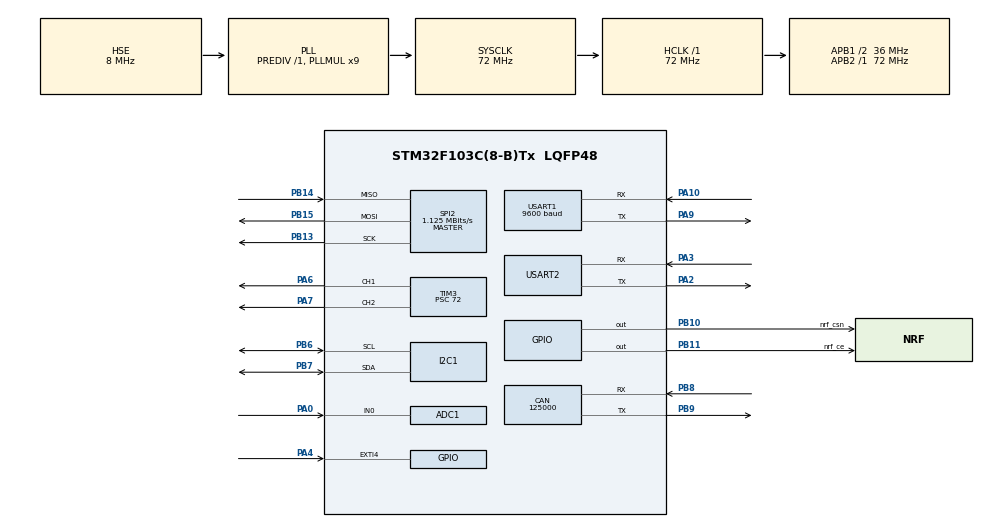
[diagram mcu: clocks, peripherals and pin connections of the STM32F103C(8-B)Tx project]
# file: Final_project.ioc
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ADC1.Channel-0\#ChannelRegularConversion=ADC_CHANNEL_TEMPSENSOR
ADC1.Channel-1\#ChannelRegularConversion=ADC_CHANNEL_0
ADC1.ContinuousConvMode=ENABLE
ADC1.NbrOfConversion=2
ADC1.NbrOfConversionFlag=1
ADC1.Rank-0\#ChannelRegularConversion=1
ADC1.Rank-1\#ChannelRegularConversion=2
ADC1.SamplingTime-0\#ChannelRegularConversion=ADC_SAMPLETIME_71CYCLES_5
ADC1.SamplingTime-1\#ChannelRegularConversion=ADC_SAMPLETIME_239CYCLES_5
ADC1.master=1
CAN.BS1=CAN_BS1_15TQ
CAN.BS2=CAN_BS2_2TQ
CAN.CalculateBaudRate=125000
CAN.CalculateTimeBit=8000
CAN.CalculateTimeQuantum=444.44444444444446
Dma.ADC1.1.Direction=DMA_PERIPH_TO_MEMORY
Dma.ADC1.1.Instance=DMA1_Channel1
Dma.ADC1.1.MemDataAlignment=DMA_MDATAALIGN_WORD
Dma.ADC1.1.MemInc=DMA_MINC_ENABLE
Dma.ADC1.1.Mode=DMA_CIRCULAR
Dma.ADC1.1.PeriphDataAlignment=DMA_PDATAALIGN_WORD
Dma.ADC1.1.PeriphInc=DMA_PINC_DISABLE
Dma.ADC1.1.Priority=DMA_PRIORITY_LOW
Dma.Request0=USART1_RX
Dma.Request1=ADC1
Dma.USART1_RX.0.Direction=DMA_PERIPH_TO_MEMORY
Dma.USART1_RX.0.Instance=DMA1_Channel5
Dma.USART1_RX.0.MemDataAlignment=DMA_MDATAALIGN_BYTE
Dma.USART1_RX.0.MemInc=DMA_MINC_ENABLE
Dma.USART1_RX.0.Mode=DMA_NORMAL
Dma.USART1_RX.0.PeriphDataAlignment=DMA_PDATAALIGN_BYTE
Dma.USART1_RX.0.PeriphInc=DMA_PINC_DISABLE
Dma.USART1_RX.0.Priority=DMA_PRIORITY_LOW
FREERTOS.Tasks01=defaultTask,24,128,StartDefaultTask,Default,NULL,Dynamic,NULL,NULL
FREERTOS.configMINIMAL_STACK_SIZE=80
FREERTOS.configTOTAL_HEAP_SIZE=5500
FREERTOS.configUSE_NEWLIB_REENTRANT=1
I2C1.I2C_Mode=I2C_Fast
Mcu.Family=STM32F1
Mcu.Name=STM32F103C(8-B)Tx
Mcu.Package=LQFP48
NVIC.DMA1_Channel1_IRQn=true\:5\:0\:false\:false\:true\:true\:false\:true\:true
NVIC.DMA1_Channel5_IRQn=true\:5\:0\:false\:false\:true\:true\:false\:true\:true
NVIC.EXTI4_IRQn=true\:5\:0\:false\:false\:true\:true\:true\:true\:true
NVIC.PriorityGroup=NVIC_PRIORITYGROUP_4
NVIC.TIM1_UP_IRQn=true\:15\:0\:false\:false\:true\:false\:false\:true\:true
NVIC.TIM2_IRQn=true\:5\:0\:false\:false\:true\:true\:true\:true\:true
NVIC.TimeBase=TIM1_UP_IRQn
NVIC.TimeBaseIP=TIM1
PA0-WKUP.Signal=ADCx_IN0
PA10.Mode=Asynchronous
PA10.Signal=USART1_RX
PA13.Mode=Serial_Wire
PA13.Signal=SYS_JTMS-SWDIO
PA14.Mode=Serial_Wire
PA14.Signal=SYS_JTCK-SWCLK
PA2.Mode=Asynchronous
PA2.Signal=USART2_TX
PA3.Mode=Asynchronous
PA3.Signal=USART2_RX
PA4.Signal=GPXTI4
PA6.Signal=S_TIM3_CH1
PA7.Signal=S_TIM3_CH2
PA9.Mode=Asynchronous
PA9.Signal=USART1_TX
PB10.GPIO_Label=nrf_csn
PB10.Signal=GPIO_Output
PB11.GPIO_Label=nrf_ce
PB11.Signal=GPIO_Output
PB13.Mode=Full_Duplex_Master
PB13.Signal=SPI2_SCK
PB14.Mode=Full_Duplex_Master
PB14.Signal=SPI2_MISO
PB15.Mode=Full_Duplex_Master
PB15.Signal=SPI2_MOSI
PB6.Mode=I2C
PB6.Signal=I2C1_SCL
PB7.Mode=I2C
PB7.Signal=I2C1_SDA
PB8.Mode=CAN_Activate
PB8.Signal=CAN_RX
PB9.Mode=CAN_Activate
PB9.Signal=CAN_TX
PD0-OSC_IN.Mode=HSE-External-Oscillator
PD0-OSC_IN.Signal=RCC_OSC_IN
PD1-OSC_OUT.Mode=HSE-External-Oscillator
PD1-OSC_OUT.Signal=RCC_OSC_OUT
ProjectManager.HeapSize=0x200
ProjectManager.StackSize=0x400
ProjectManager.TargetToolchain=STM32CubeIDE
RCC.ADCPresc=RCC_ADCPCLK2_DIV6
RCC.AHBFreq_Value=72000000
RCC.APB1CLKDivider=RCC_HCLK_DIV2
RCC.APB1Freq_Value=36000000
RCC.APB1TimFreq_Value=72000000
RCC.APB2Freq_Value=72000000
RCC.APB2TimFreq_Value=72000000
RCC.HCLKFreq_Value=72000000
RCC.PLLMUL=RCC_PLL_MUL9
RCC.PLLSourceVirtual=RCC_PLLSOURCE_HSE
RCC.SYSCLKFreq_VALUE=72000000
RCC.SYSCLKSource=RCC_SYSCLKSOURCE_PLLCLK
RCC.USBFreq_Value=72000000
SH.ADCx_IN0.0=ADC1_IN0,IN0
SH.S_TIM3_CH1.0=TIM3_CH1,PWM Generation1 CH1
SH.S_TIM3_CH2.0=TIM3_CH2,PWM Generation2 CH2
SPI2.BaudRatePrescaler=SPI_BAUDRATEPRESCALER_32
SPI2.CalculateBaudRate=1.125 MBits/s
SPI2.Direction=SPI_DIRECTION_2LINES
SPI2.Mode=SPI_MODE_MASTER
SPI2.VirtualType=VM_MASTER
TIM2.Period=10000
TIM2.Prescaler=7200-1
TIM3.Channel-PWM\ Generation1\ CH1=TIM_CHANNEL_1
TIM3.Channel-PWM\ Generation2\ CH2=TIM_CHANNEL_2
TIM3.Period=20000
TIM3.Prescaler=72
USART1.BaudRate=9600
USART1.VirtualMode=VM_ASYNC
USART2.VirtualMode=VM_ASYNC
VP_ADC1_TempSens_Input.Mode=IN-TempSens
VP_FREERTOS_VS_CMSIS_V2.Mode=CMSIS_V2
VP_SYS_VS_tim1.Mode=TIM1
VP_TIM2_VS_ClockSourceINT.Mode=Internal
board=custom

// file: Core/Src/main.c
/* USER CODE BEGIN Header */
/**
 ******************************************************************************
 * @file           : main.c
 * @brief          : Main program body
 ******************************************************************************
 * @attention
 *
 * Copyright (c) 2024 STMicroelectronics.
 * All rights reserved.
 *
 * This software is licensed under terms that can be found in the LICENSE file
 * in the root directory of this software component.
 * If no LICENSE file comes with this software, it is provided AS-IS.
 *
 ******************************************************************************
 */
/* USER CODE END Header */
#include "main.h"
#include "cmsis_os.h"

/* USER CODE BEGIN Includes */

#include "HCompass_HMC5883L_3.h"
#include "new_NMEA.h"
#include "Temperature_Battery.h"
#include "CAN.h"
#include "HServo_Motor.h"
#include "MY_NRF24.h"

/* USER CODE END Includes */

ADC_HandleTypeDef hadc1;
DMA_HandleTypeDef hdma_adc1;

CAN_HandleTypeDef hcan;

I2C_HandleTypeDef hi2c1;

SPI_HandleTypeDef hspi2;

TIM_HandleTypeDef htim2;
TIM_HandleTypeDef htim3;

UART_HandleTypeDef huart1;
UART_HandleTypeDef huart2;
DMA_HandleTypeDef hdma_usart1_rx;

/* Definitions for defaultTask */
osThreadId_t defaultTaskHandle;
const osThreadAttr_t defaultTask_attributes = {
  .name = "defaultTask",
  .stack_size = 128 * 4,
  .priority = (osPriority_t) osPriorityNormal,
};

void SystemClock_Config(void);
static void MX_GPIO_Init(void);
static void MX_DMA_Init(void);
static void MX_CAN_Init(void);
static void MX_I2C1_Init(void);
static void MX_SPI2_Init(void);
static void MX_USART1_UART_Init(void);
static void MX_ADC1_Init(void);
static void MX_TIM3_Init(void);
static void MX_USART2_UART_Init(void);
static void MX_TIM2_Init(void);
void StartDefaultTask(void *argument);

/* USER CODE BEGIN 0 */

void gps_task(void*paramters)
{

	while(1)
	{
		dma_uart(&hdma_usart1_rx, &huart1, &gpsdata, GGA, rx_databuffer);
		vTaskDelay(500);
	}
}

void Battery_Temperature_task(void*paramters)
{
	percentage =100;
	new_percentage =100;
	while(1)
	{
		Read_Temperature();
		//		Read_Battery();
		vTaskDelay(500);
	}
}

void compass_task(void*paramters)
{
	HCompass_Init();
	while(1)
	{
		HCompass_ReadAxis();
		vTaskDelay(500);
	}
}

void CAN_task(void*paramters)
{
	HAL_CAN_Start(&hcan);
	while(1)
	{
		can_tx(0x001, 8, Tx_can_data);
		can_rx();
		vTaskDelay(100);
	}
}

void STEERING_task(void*paramters)
{
	HServo_Timer_Init();
	while(1)
	{
		steering();
		//		HServo_writePosition(100);

		vTaskDelay(50);
	}
}

void NRF_task(void*paramters)
{
	nrf_init();

	while(1)
	{
		if(NRF24_available())
		{
			NRF24_read(myRxData, 32);
			NRF24_writeAckPayload(1, myAckPayload, 32);
			myRxData[32] = '\r'; myRxData[32+1] = '\n';
		}

		vTaskDelay(300);
	}
}

void gateway_task(void*paramters)
{

	HAL_TIM_PWM_Start(&SERVO_TIMER, TIM_CHANNEL_2);
	uint32_t speeed = 5000;
	uint8_t enable =0;
	uint8_t street = 0;
	while(1)
	{

		__HAL_TIM_SET_COMPARE(&SERVO_TIMER, TIM_CHANNEL_2, speeed);
		if(myRxData[0]=='1')
		{
			street = !street;
			while(myRxData[0]=='1');
		}

		if (compass.direction>180 && compass.direction<220)
		{
			if (street)
				speeed = 5000;
			else
				speeed = 0;
		}
		else
			if (!street)
				speeed = 5000;
			else
				speeed = 0;
		vTaskDelay(100);
	}
}

void HAL_GPIO_EXTI_Callback(uint16_t GPIO_Pin)
{
	counter++;
}

/* USER CODE END 0 */

int main(void)
{

  /* MCU Configuration--------------------------------------------------------*/

  /* Reset of all peripherals, Initializes the Flash interface and the Systick. */
  HAL_Init();

  /* Configure the system clock */
  SystemClock_Config();

  /* Initialize all configured peripherals */
  MX_GPIO_Init();
  MX_DMA_Init();
  MX_CAN_Init();
  MX_I2C1_Init();
  MX_SPI2_Init();
  MX_USART1_UART_Init();
  MX_ADC1_Init();
  MX_TIM3_Init();
  MX_USART2_UART_Init();
  MX_TIM2_Init();
  /* USER CODE BEGIN 2 */

	HAL_TIM_Base_Start_IT(&htim2);
	HAL_UART_Receive_DMA(&huart1, rx_databuffer, (uint16_t) bufsize);
	HAL_ADC_Start_DMA(&hadc1, adc, 2);
	HAL_TIM_PWM_Start(&SERVO_TIMER, TIM_CHANNEL_2);
	__HAL_TIM_SET_COMPARE(&SERVO_TIMER, TIM_CHANNEL_2, 5000);

	//	HAL_CAN_ActivateNotification(&hcan, CAN_IT_RX_FIFO1_MSG_PENDING);
	HAL_Delay(1000);

  /* USER CODE END 2 */

  /* Init scheduler */
  osKernelInitialize();

  /* Create the thread(s) */
  /* creation of defaultTask */
  defaultTaskHandle = osThreadNew(StartDefaultTask, NULL, &defaultTask_attributes);

  /* USER CODE BEGIN RTOS_THREADS */
	/* add threads, ... */

	xTaskCreate(gps_task, "gps task", 80, NULL, 6, NULL);
	xTaskCreate(Battery_Temperature_task,"battery and temp task", 80, NULL, 3, NULL);
	xTaskCreate(compass_task, "compass task", 80, NULL, 4, NULL);
	xTaskCreate(CAN_task, "can task", 80, NULL, 7, NULL);
	xTaskCreate(STEERING_task, "steering task", 80, NULL, 2, NULL);
	xTaskCreate(NRF_task, "nrf task", 200, NULL, 11, NULL);
//	xTaskCreate(gateway_task, "velocity task", 80, NULL, 10, NULL);

  /* USER CODE END RTOS_THREADS */

  /* Start scheduler */
  osKernelStart();

  /* We should never get here as control is now taken by the scheduler */
  /* Infinite loop */
	while (1)
	{

	}
}

void SystemClock_Config(void)
{
  RCC_OscInitTypeDef RCC_OscInitStruct = {0};
  RCC_ClkInitTypeDef RCC_ClkInitStruct = {0};
  RCC_PeriphCLKInitTypeDef PeriphClkInit = {0};

  /** Initializes the RCC Oscillators according to the specified parameters
  * in the RCC_OscInitTypeDef structure.
  */
  RCC_OscInitStruct.OscillatorType = RCC_OSCILLATORTYPE_HSE;
  RCC_OscInitStruct.HSEState = RCC_HSE_ON;
  RCC_OscInitStruct.HSEPredivValue = RCC_HSE_PREDIV_DIV1;
  RCC_OscInitStruct.HSIState = RCC_HSI_ON;
  RCC_OscInitStruct.PLL.PLLState = RCC_PLL_ON;
  RCC_OscInitStruct.PLL.PLLSource = RCC_PLLSOURCE_HSE;
  RCC_OscInitStruct.PLL.PLLMUL = RCC_PLL_MUL9;
  if (HAL_RCC_OscConfig(&RCC_OscInitStruct) != HAL_OK)
  {
    Error_Handler();
  }

  /** Initializes the CPU, AHB and APB buses clocks
  */
  RCC_ClkInitStruct.ClockType = RCC_CLOCKTYPE_HCLK|RCC_CLOCKTYPE_SYSCLK
                              |RCC_CLOCKTYPE_PCLK1|RCC_CLOCKTYPE_PCLK2;
  RCC_ClkInitStruct.SYSCLKSource = RCC_SYSCLKSOURCE_PLLCLK;
  RCC_ClkInitStruct.AHBCLKDivider = RCC_SYSCLK_DIV1;
  RCC_ClkInitStruct.APB1CLKDivider = RCC_HCLK_DIV2;
  RCC_ClkInitStruct.APB2CLKDivider = RCC_HCLK_DIV1;

  if (HAL_RCC_ClockConfig(&RCC_ClkInitStruct, FLASH_LATENCY_2) != HAL_OK)
  {
    Error_Handler();
  }
  PeriphClkInit.PeriphClockSelection = RCC_PERIPHCLK_ADC;
  PeriphClkInit.AdcClockSelection = RCC_ADCPCLK2_DIV6;
  if (HAL_RCCEx_PeriphCLKConfig(&PeriphClkInit) != HAL_OK)
  {
    Error_Handler();
  }
}

static void MX_ADC1_Init(void)
{

  ADC_ChannelConfTypeDef sConfig = {0};

  /** Common config
  */
  hadc1.Instance = ADC1;
  hadc1.Init.ScanConvMode = ADC_SCAN_ENABLE;
  hadc1.Init.ContinuousConvMode = ENABLE;
  hadc1.Init.DiscontinuousConvMode = DISABLE;
  hadc1.Init.ExternalTrigConv = ADC_SOFTWARE_START;
  hadc1.Init.DataAlign = ADC_DATAALIGN_RIGHT;
  hadc1.Init.NbrOfConversion = 2;
  if (HAL_ADC_Init(&hadc1) != HAL_OK)
  {
    Error_Handler();
  }

  /** Configure Regular Channel
  */
  sConfig.Channel = ADC_CHANNEL_TEMPSENSOR;
  sConfig.Rank = ADC_REGULAR_RANK_1;
  sConfig.SamplingTime = ADC_SAMPLETIME_71CYCLES_5;
  if (HAL_ADC_ConfigChannel(&hadc1, &sConfig) != HAL_OK)
  {
    Error_Handler();
  }

  /** Configure Regular Channel
  */
  sConfig.Channel = ADC_CHANNEL_0;
  sConfig.Rank = ADC_REGULAR_RANK_2;
  sConfig.SamplingTime = ADC_SAMPLETIME_239CYCLES_5;
  if (HAL_ADC_ConfigChannel(&hadc1, &sConfig) != HAL_OK)
  {
    Error_Handler();
  }

}

static void MX_CAN_Init(void)
{

  hcan.Instance = CAN1;
  hcan.Init.Prescaler = 16;
  hcan.Init.Mode = CAN_MODE_NORMAL;
  hcan.Init.SyncJumpWidth = CAN_SJW_1TQ;
  hcan.Init.TimeSeg1 = CAN_BS1_15TQ;
  hcan.Init.TimeSeg2 = CAN_BS2_2TQ;
  hcan.Init.TimeTriggeredMode = DISABLE;
  hcan.Init.AutoBusOff = DISABLE;
  hcan.Init.AutoWakeUp = DISABLE;
  hcan.Init.AutoRetransmission = DISABLE;
  hcan.Init.ReceiveFifoLocked = DISABLE;
  hcan.Init.TransmitFifoPriority = DISABLE;
  if (HAL_CAN_Init(&hcan) != HAL_OK)
  {
    Error_Handler();
  }
  /* USER CODE BEGIN CAN_Init 2 */
	CAN_FilterTypeDef canfilterconfig;
	canfilterconfig.FilterActivation = CAN_FILTER_ENABLE;
	canfilterconfig.FilterBank = 10;
	canfilterconfig.FilterFIFOAssignment = CAN_RX_FIFO1;
	canfilterconfig.FilterIdHigh = 0x103<<5;
	canfilterconfig.FilterIdLow = 0x0000;
	canfilterconfig.FilterMaskIdHigh = 0x103<<5;
	canfilterconfig.FilterMaskIdLow = 0x0000;
	//	canfilterconfig.FilterMode = CAN_FILTERMODE_IDMASK;
	canfilterconfig.FilterMode = CAN_FILTERMODE_IDLIST;
	canfilterconfig.FilterScale = CAN_FILTERSCALE_32BIT;
	canfilterconfig.SlaveStartFilterBank = 10;

	HAL_CAN_ConfigFilter(&hcan, &canfilterconfig);

  /* USER CODE END CAN_Init 2 */

}

static void MX_I2C1_Init(void)
{

  hi2c1.Instance = I2C1;
  hi2c1.Init.ClockSpeed = 400000;
  hi2c1.Init.DutyCycle = I2C_DUTYCYCLE_2;
  hi2c1.Init.OwnAddress1 = 0;
  hi2c1.Init.AddressingMode = I2C_ADDRESSINGMODE_7BIT;
  hi2c1.Init.DualAddressMode = I2C_DUALADDRESS_DISABLE;
  hi2c1.Init.OwnAddress2 = 0;
  hi2c1.Init.GeneralCallMode = I2C_GENERALCALL_DISABLE;
  hi2c1.Init.NoStretchMode = I2C_NOSTRETCH_DISABLE;
  if (HAL_I2C_Init(&hi2c1) != HAL_OK)
  {
    Error_Handler();
  }

}

static void MX_SPI2_Init(void)
{

  /* SPI2 parameter configuration*/
  hspi2.Instance = SPI2;
  hspi2.Init.Mode = SPI_MODE_MASTER;
  hspi2.Init.Direction = SPI_DIRECTION_2LINES;
  hspi2.Init.DataSize = SPI_DATASIZE_8BIT;
  hspi2.Init.CLKPolarity = SPI_POLARITY_LOW;
  hspi2.Init.CLKPhase = SPI_PHASE_1EDGE;
  hspi2.Init.NSS = SPI_NSS_SOFT;
  hspi2.Init.BaudRatePrescaler = SPI_BAUDRATEPRESCALER_32;
  hspi2.Init.FirstBit = SPI_FIRSTBIT_MSB;
  hspi2.Init.TIMode = SPI_TIMODE_DISABLE;
  hspi2.Init.CRCCalculation = SPI_CRCCALCULATION_DISABLE;
  hspi2.Init.CRCPolynomial = 10;
  if (HAL_SPI_Init(&hspi2) != HAL_OK)
  {
    Error_Handler();
  }

}

static void MX_TIM2_Init(void)
{

  TIM_ClockConfigTypeDef sClockSourceConfig = {0};
  TIM_MasterConfigTypeDef sMasterConfig = {0};

  htim2.Instance = TIM2;
  htim2.Init.Prescaler = 7200-1;
  htim2.Init.CounterMode = TIM_COUNTERMODE_UP;
  htim2.Init.Period = 10000;
  htim2.Init.ClockDivision = TIM_CLOCKDIVISION_DIV1;
  htim2.Init.AutoReloadPreload = TIM_AUTORELOAD_PRELOAD_DISABLE;
  if (HAL_TIM_Base_Init(&htim2) != HAL_OK)
  {
    Error_Handler();
  }
  sClockSourceConfig.ClockSource = TIM_CLOCKSOURCE_INTERNAL;
  if (HAL_TIM_ConfigClockSource(&htim2, &sClockSourceConfig) != HAL_OK)
  {
    Error_Handler();
  }
  sMasterConfig.MasterOutputTrigger = TIM_TRGO_RESET;
  sMasterConfig.MasterSlaveMode = TIM_MASTERSLAVEMODE_DISABLE;
  if (HAL_TIMEx_MasterConfigSynchronization(&htim2, &sMasterConfig) != HAL_OK)
  {
    Error_Handler();
  }

}

static void MX_TIM3_Init(void)
{

  TIM_MasterConfigTypeDef sMasterConfig = {0};
  TIM_OC_InitTypeDef sConfigOC = {0};

  htim3.Instance = TIM3;
  htim3.Init.Prescaler = 72;
  htim3.Init.CounterMode = TIM_COUNTERMODE_UP;
  htim3.Init.Period = 20000;
  htim3.Init.ClockDivision = TIM_CLOCKDIVISION_DIV1;
  htim3.Init.AutoReloadPreload = TIM_AUTORELOAD_PRELOAD_DISABLE;
  if (HAL_TIM_PWM_Init(&htim3) != HAL_OK)
  {
    Error_Handler();
  }
  sMasterConfig.MasterOutputTrigger = TIM_TRGO_RESET;
  sMasterConfig.MasterSlaveMode = TIM_MASTERSLAVEMODE_DISABLE;
  if (HAL_TIMEx_MasterConfigSynchronization(&htim3, &sMasterConfig) != HAL_OK)
  {
    Error_Handler();
  }
  sConfigOC.OCMode = TIM_OCMODE_PWM1;
  sConfigOC.Pulse = 0;
  sConfigOC.OCPolarity = TIM_OCPOLARITY_HIGH;
  sConfigOC.OCFastMode = TIM_OCFAST_DISABLE;
  if (HAL_TIM_PWM_ConfigChannel(&htim3, &sConfigOC, TIM_CHANNEL_1) != HAL_OK)
  {
    Error_Handler();
  }
  if (HAL_TIM_PWM_ConfigChannel(&htim3, &sConfigOC, TIM_CHANNEL_2) != HAL_OK)
  {
    Error_Handler();
  }
  HAL_TIM_MspPostInit(&htim3);

}

static void MX_USART1_UART_Init(void)
{

  huart1.Instance = USART1;
  huart1.Init.BaudRate = 9600;
  huart1.Init.WordLength = UART_WORDLENGTH_8B;
  huart1.Init.StopBits = UART_STOPBITS_1;
  huart1.Init.Parity = UART_PARITY_NONE;
  huart1.Init.Mode = UART_MODE_TX_RX;
  huart1.Init.HwFlowCtl = UART_HWCONTROL_NONE;
  huart1.Init.OverSampling = UART_OVERSAMPLING_16;
  if (HAL_UART_Init(&huart1) != HAL_OK)
  {
    Error_Handler();
  }

}

static void MX_USART2_UART_Init(void)
{

  huart2.Instance = USART2;
  huart2.Init.BaudRate = 115200;
  huart2.Init.WordLength = UART_WORDLENGTH_8B;
  huart2.Init.StopBits = UART_STOPBITS_1;
  huart2.Init.Parity = UART_PARITY_NONE;
  huart2.Init.Mode = UART_MODE_TX_RX;
  huart2.Init.HwFlowCtl = UART_HWCONTROL_NONE;
  huart2.Init.OverSampling = UART_OVERSAMPLING_16;
  if (HAL_UART_Init(&huart2) != HAL_OK)
  {
    Error_Handler();
  }

}

static void MX_DMA_Init(void)
{

  /* DMA controller clock enable */
  __HAL_RCC_DMA1_CLK_ENABLE();

  /* DMA interrupt init */
  /* DMA1_Channel1_IRQn interrupt configuration */
  HAL_NVIC_SetPriority(DMA1_Channel1_IRQn, 5, 0);
  HAL_NVIC_EnableIRQ(DMA1_Channel1_IRQn);
  /* DMA1_Channel5_IRQn interrupt configuration */
  HAL_NVIC_SetPriority(DMA1_Channel5_IRQn, 5, 0);
  HAL_NVIC_EnableIRQ(DMA1_Channel5_IRQn);

}

static void MX_GPIO_Init(void)
{
  GPIO_InitTypeDef GPIO_InitStruct = {0};

  /* GPIO Ports Clock Enable */
  __HAL_RCC_GPIOD_CLK_ENABLE();
  __HAL_RCC_GPIOA_CLK_ENABLE();
  __HAL_RCC_GPIOB_CLK_ENABLE();

  /*Configure GPIO pin Output Level */
  HAL_GPIO_WritePin(GPIOB, nrf_csn_Pin|nrf_ce_Pin, GPIO_PIN_RESET);

  /*Configure GPIO pin : PA4 */
  GPIO_InitStruct.Pin = GPIO_PIN_4;
  GPIO_InitStruct.Mode = GPIO_MODE_IT_RISING;
  GPIO_InitStruct.Pull = GPIO_NOPULL;
  HAL_GPIO_Init(GPIOA, &GPIO_InitStruct);

  /*Configure GPIO pins : nrf_csn_Pin nrf_ce_Pin */
  GPIO_InitStruct.Pin = nrf_csn_Pin|nrf_ce_Pin;
  GPIO_InitStruct.Mode = GPIO_MODE_OUTPUT_PP;
  GPIO_InitStruct.Pull = GPIO_NOPULL;
  GPIO_InitStruct.Speed = GPIO_SPEED_FREQ_LOW;
  HAL_GPIO_Init(GPIOB, &GPIO_InitStruct);

  /* EXTI interrupt init*/
  HAL_NVIC_SetPriority(EXTI4_IRQn, 5, 0);
  HAL_NVIC_EnableIRQ(EXTI4_IRQn);

}

void StartDefaultTask(void *argument)
{
	for(;;)
	{
		osDelay(1);
	}
}

void HAL_TIM_PeriodElapsedCallback(TIM_HandleTypeDef *htim)
{
  if (htim->Instance == TIM1) {
    HAL_IncTick();
  }
  /* USER CODE BEGIN Callback 1 */
	if(htim->Instance == TIM2)
	{
		speed = counter/15;
		range += counter/15;
		counter=0;
	}
  /* USER CODE END Callback 1 */
}

void Error_Handler(void)
{
	__disable_irq();
	while (1)
	{
	}
}
